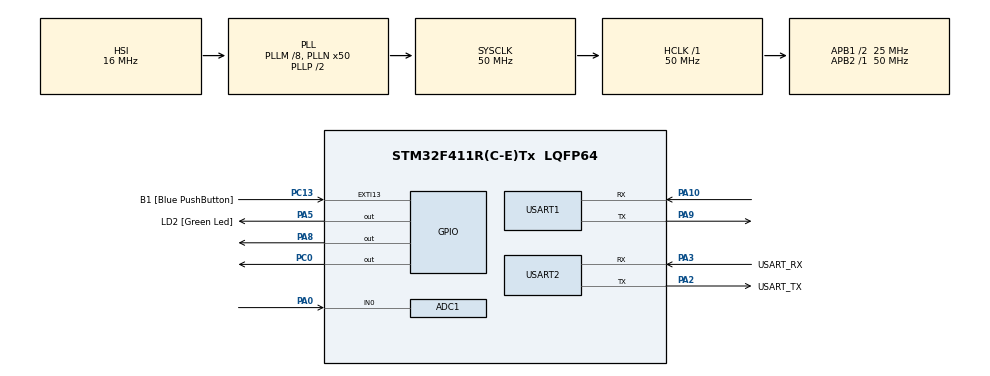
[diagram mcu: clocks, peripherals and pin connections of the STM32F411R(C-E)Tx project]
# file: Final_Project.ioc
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ADC1.Channel-0\#ChannelRegularConversion=ADC_CHANNEL_0
ADC1.NbrOfConversionFlag=1
ADC1.Rank-0\#ChannelRegularConversion=1
ADC1.SamplingTime-0\#ChannelRegularConversion=ADC_SAMPLETIME_3CYCLES
ADC1.master=1
FREERTOS.Tasks01=defaultTask,24,128,StartDefaultTask,Default,NULL,Dynamic,NULL,NULL;DustSensor,8,128,StartTask02,Default,NULL,Dynamic,NULL,NULL;DHT22,8,128,StartTask03,Default,NULL,Dynamic,NULL,NULL
Mcu.Family=STM32F4
Mcu.Name=STM32F411R(C-E)Tx
Mcu.Package=LQFP64
NVIC.PriorityGroup=NVIC_PRIORITYGROUP_4
NVIC.USART1_IRQn=true\:5\:0\:false\:false\:true\:true\:true\:true\:true
NVIC.USART2_IRQn=true\:5\:0\:false\:false\:true\:true\:true\:true\:true
PA0-WKUP.Signal=ADCx_IN0
PA10.Mode=Asynchronous
PA10.Signal=USART1_RX
PA13.GPIO_Label=TMS
PA13.Mode=Serial_Wire
PA13.Signal=SYS_JTMS-SWDIO
PA14.GPIO_Label=TCK
PA14.Mode=Serial_Wire
PA14.Signal=SYS_JTCK-SWCLK
PA2.GPIO_Label=USART_TX
PA2.Mode=Asynchronous
PA2.Signal=USART2_TX
PA3.GPIO_Label=USART_RX
PA3.Mode=Asynchronous
PA3.Signal=USART2_RX
PA5.GPIO_Label=LD2 [Green Led]
PA5.Signal=GPIO_Output
PA8.Signal=GPIO_Output
PA9.Mode=Asynchronous
PA9.Signal=USART1_TX
PB3.GPIO_Label=SWO
PB3.Signal=SYS_JTDO-SWO
PC0.Signal=GPIO_Output
PC13-ANTI_TAMP.GPIO_Label=B1 [Blue PushButton]
PC13-ANTI_TAMP.GPIO_ModeDefaultEXTI=GPIO_MODE_IT_FALLING
PC13-ANTI_TAMP.Signal=GPXTI13
PC14-OSC32_IN.Mode=LSE-External-Oscillator
PC14-OSC32_IN.Signal=RCC_OSC32_IN
PC15-OSC32_OUT.Mode=LSE-External-Oscillator
PC15-OSC32_OUT.Signal=RCC_OSC32_OUT
PH0\ -\ OSC_IN.Mode=HSE-External-Oscillator
PH0\ -\ OSC_IN.Signal=RCC_OSC_IN
PH1\ -\ OSC_OUT.Mode=HSE-External-Oscillator
PH1\ -\ OSC_OUT.Signal=RCC_OSC_OUT
ProjectManager.HeapSize=0x200
ProjectManager.StackSize=0x400
ProjectManager.TargetToolchain=STM32CubeIDE
RCC.48MHZClocksFreq_Value=25000000
RCC.AHBFreq_Value=50000000
RCC.APB1CLKDivider=RCC_HCLK_DIV2
RCC.APB1Freq_Value=25000000
RCC.APB1TimFreq_Value=50000000
RCC.APB2Freq_Value=50000000
RCC.APB2TimFreq_Value=50000000
RCC.CortexFreq_Value=50000000
RCC.FLatency-AdvancedSettings=FLASH_LATENCY_1
RCC.HCLKFreq_Value=50000000
RCC.HSE_VALUE=8000000
RCC.HSI_VALUE=16000000
RCC.PLLM=8
RCC.PLLN=50
RCC.SYSCLKFreq_VALUE=50000000
RCC.SYSCLKSource=RCC_SYSCLKSOURCE_PLLCLK
RCC.VCOOutputFreq_Value=100000000
SH.ADCx_IN0.0=ADC1_IN0,IN0
TIM1.Prescaler=49
TIM2.Prescaler=49
TIM3.Prescaler=49
USART1.VirtualMode=VM_ASYNC
USART2.VirtualMode=VM_ASYNC
VP_FREERTOS_VS_CMSIS_V2.Mode=CMSIS_V2
VP_TIM1_VS_ClockSourceINT.Mode=Internal
VP_TIM2_VS_ClockSourceINT.Mode=Internal
VP_TIM3_VS_ClockSourceINT.Mode=Internal
board=NUCLEO-F411RE

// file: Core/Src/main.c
/* USER CODE BEGIN Header */
/**
  ******************************************************************************
  * @file           : main.c
  * @brief          : Main program body
  ******************************************************************************
  * @attention
  *
  * Copyright (c) 2023 STMicroelectronics.
  * All rights reserved.
  *
  * This software is licensed under terms that can be found in the LICENSE file
  * in the root directory of this software component.
  * If no LICENSE file comes with this software, it is provided AS-IS.
  *
  ******************************************************************************
  */
/* USER CODE END Header */
#include "main.h"
#include "cmsis_os.h"

/* USER CODE BEGIN PD */
#define LED_PORT GPIOA
#define LED_PIN GPIO_PIN_8
#define DHT22_PORT GPIOB
#define DHT22_PIN GPIO_PIN_8
#define FAN_PORT GPIOC
#define FAN_PIN GPIO_PIN_0
/* USER CODE END PD */

ADC_HandleTypeDef hadc1;

TIM_HandleTypeDef htim1;
TIM_HandleTypeDef htim2;
TIM_HandleTypeDef htim3;

UART_HandleTypeDef huart1;
UART_HandleTypeDef huart2;

/* Definitions for defaultTask */
osThreadId_t defaultTaskHandle;
const osThreadAttr_t defaultTask_attributes = {
  .name = "defaultTask",
  .stack_size = 128 * 4,
  .priority = (osPriority_t) osPriorityNormal,
};
/* Definitions for DustSensor */
osThreadId_t DustSensorHandle;
const osThreadAttr_t DustSensor_attributes = {
  .name = "DustSensor",
  .stack_size = 128 * 4,
  .priority = (osPriority_t) osPriorityLow,
};
/* Definitions for DHT22 */
osThreadId_t DHT22Handle;
const osThreadAttr_t DHT22_attributes = {
  .name = "DHT22",
  .stack_size = 128 * 4,
  .priority = (osPriority_t) osPriorityLow,
};

void SystemClock_Config(void);
static void MX_GPIO_Init(void);
static void MX_USART2_UART_Init(void);
static void MX_ADC1_Init(void);
static void MX_TIM1_Init(void);
static void MX_TIM3_Init(void);
static void MX_USART1_UART_Init(void);
static void MX_TIM2_Init(void);
void StartDefaultTask(void *argument);
void StartTask02(void *argument);
void StartTask03(void *argument);

/* USER CODE BEGIN 0 */
int adcval=0;
uint8_t Rh_byte1, Rh_byte2, Temp_byte1, Temp_byte2,T[3],H[3],Check,Presence,Data[10],Echo_Data[1];
uint16_t Tsum,Hsum,SUM;
void delay(uint16_t Delay){ // will delay = Delay * 1 micro second (Delay should not exceed 2^16 - 1)
    __HAL_TIM_SET_COUNTER(&htim3,0);  // set the counter value a 0
    while ((uint16_t)__HAL_TIM_GET_COUNTER(&htim3) < Delay);// wait for the counter to reach the us input in the parameter
}
void delay3(uint16_t Delay){ // will delay = Delay * 1 micro second (Delay should not exceed 2^16 - 1)
    __HAL_TIM_SET_COUNTER(&htim2,0);  // set the counter value a 0
    while ((uint16_t)__HAL_TIM_GET_COUNTER(&htim2) < Delay);// wait for the counter to reach the us input in the parameter
}
void Set_Pin_Output (GPIO_TypeDef *GPIOx, uint16_t GPIO_Pin){
	GPIO_InitTypeDef GPIO_InitStruct = {0};
	GPIO_InitStruct.Pin = GPIO_Pin;
	GPIO_InitStruct.Mode = GPIO_MODE_OUTPUT_PP;
	GPIO_InitStruct.Speed = GPIO_SPEED_FREQ_LOW;
	HAL_GPIO_Init(GPIOx, &GPIO_InitStruct);
}

void Set_Pin_Input (GPIO_TypeDef *GPIOx, uint16_t GPIO_Pin){
	GPIO_InitTypeDef GPIO_InitStruct = {0};
	GPIO_InitStruct.Pin = GPIO_Pin;
	GPIO_InitStruct.Mode = GPIO_MODE_INPUT;
	GPIO_InitStruct.Pull = GPIO_PULLUP;
	HAL_GPIO_Init(GPIOx, &GPIO_InitStruct);
}

void DHT22_Start (void)
{
	Set_Pin_Output(DHT22_PORT, DHT22_PIN); // set the pin as output
	HAL_GPIO_WritePin (DHT22_PORT, DHT22_PIN, 0);   // pull the pin low
	delay(20000);   // wait for > 1ms

	HAL_GPIO_WritePin (DHT22_PORT, DHT22_PIN, 1);   // pull the pin high
	delay (30);   // wait for 30us
	HAL_GPIO_WritePin (DHT22_PORT, DHT22_PIN, 0);   // pull the pin high

	Set_Pin_Input(DHT22_PORT, DHT22_PIN);   // set as input
}
uint8_t DHT22_Check_Response (void)
{
	Set_Pin_Input(DHT22_PORT, DHT22_PIN);   // set as input
	uint8_t Response = 0;
	delay (40);  // wait for 40us
	if (!(HAL_GPIO_ReadPin (DHT22_PORT, DHT22_PIN))) // if the pin is low
	{
		delay (80);   // wait for 80us

		if ((HAL_GPIO_ReadPin (DHT22_PORT, DHT22_PIN))) Response = 1;  // if the pin is high, response is ok
		else Response = -1;
	}

	while ((HAL_GPIO_ReadPin (DHT22_PORT, DHT22_PIN)));// wait for the pin to go low
	return Response;
}
uint8_t DHT22_Read (void)
{
	uint8_t i=0,j;
	for (j=0;j<8;j++)
	{
		while (!(HAL_GPIO_ReadPin (DHT22_PORT, DHT22_PIN))){
			delay(1); // wait for the pin to go high
		}
		delay (40);   // wait for 40 us
		HAL_GPIO_TogglePin(GPIOC, GPIO_PIN_9);
		if (!(HAL_GPIO_ReadPin (DHT22_PORT, DHT22_PIN)))   // if the pin is low
		{
			i&= ~(1<<(7-j));   // write 0
		}
		else i|= (1<<(7-j));  // if the pin is high, write 1
		while ((HAL_GPIO_ReadPin (DHT22_PORT, DHT22_PIN))){
			delay(1);  // wait for the pin to go low
		}
	}

	return i;
}
/* USER CODE END 0 */

int main(void)
{

  /* MCU Configuration--------------------------------------------------------*/

  /* Reset of all peripherals, Initializes the Flash interface and the Systick. */
  HAL_Init();

  /* Configure the system clock */
  SystemClock_Config();

  /* Initialize all configured peripherals */
  MX_GPIO_Init();
  MX_USART2_UART_Init();
  MX_ADC1_Init();
  MX_TIM1_Init();
  MX_TIM3_Init();
  MX_USART1_UART_Init();
  MX_TIM2_Init();
  /* USER CODE BEGIN 2 */
  HAL_TIM_Base_Start(&htim3);
  /* USER CODE END 2 */

  /* Init scheduler */
  osKernelInitialize();

  /* Create the thread(s) */
  /* creation of defaultTask */
  defaultTaskHandle = osThreadNew(StartDefaultTask, NULL, &defaultTask_attributes);

  /* creation of DustSensor */
  DustSensorHandle = osThreadNew(StartTask02, NULL, &DustSensor_attributes);

  /* creation of DHT22 */
  DHT22Handle = osThreadNew(StartTask03, NULL, &DHT22_attributes);

  /* Start scheduler */
  osKernelStart();
  /* We should never get here as control is now taken by the scheduler */
  /* Infinite loop */
  while (1)
  {

  }
}

void SystemClock_Config(void)
{
  RCC_OscInitTypeDef RCC_OscInitStruct = {0};
  RCC_ClkInitTypeDef RCC_ClkInitStruct = {0};

  /** Configure the main internal regulator output voltage
  */
  __HAL_RCC_PWR_CLK_ENABLE();
  __HAL_PWR_VOLTAGESCALING_CONFIG(PWR_REGULATOR_VOLTAGE_SCALE1);

  /** Initializes the RCC Oscillators according to the specified parameters
  * in the RCC_OscInitTypeDef structure.
  */
  RCC_OscInitStruct.OscillatorType = RCC_OSCILLATORTYPE_HSI;
  RCC_OscInitStruct.HSIState = RCC_HSI_ON;
  RCC_OscInitStruct.HSICalibrationValue = RCC_HSICALIBRATION_DEFAULT;
  RCC_OscInitStruct.PLL.PLLState = RCC_PLL_ON;
  RCC_OscInitStruct.PLL.PLLSource = RCC_PLLSOURCE_HSI;
  RCC_OscInitStruct.PLL.PLLM = 8;
  RCC_OscInitStruct.PLL.PLLN = 50;
  RCC_OscInitStruct.PLL.PLLP = RCC_PLLP_DIV2;
  RCC_OscInitStruct.PLL.PLLQ = 4;
  if (HAL_RCC_OscConfig(&RCC_OscInitStruct) != HAL_OK)
  {
    Error_Handler();
  }

  /** Initializes the CPU, AHB and APB buses clocks
  */
  RCC_ClkInitStruct.ClockType = RCC_CLOCKTYPE_HCLK|RCC_CLOCKTYPE_SYSCLK
                              |RCC_CLOCKTYPE_PCLK1|RCC_CLOCKTYPE_PCLK2;
  RCC_ClkInitStruct.SYSCLKSource = RCC_SYSCLKSOURCE_PLLCLK;
  RCC_ClkInitStruct.AHBCLKDivider = RCC_SYSCLK_DIV1;
  RCC_ClkInitStruct.APB1CLKDivider = RCC_HCLK_DIV2;
  RCC_ClkInitStruct.APB2CLKDivider = RCC_HCLK_DIV1;

  if (HAL_RCC_ClockConfig(&RCC_ClkInitStruct, FLASH_LATENCY_1) != HAL_OK)
  {
    Error_Handler();
  }
}

static void MX_ADC1_Init(void)
{

  ADC_ChannelConfTypeDef sConfig = {0};

  /** Configure the global features of the ADC (Clock, Resolution, Data Alignment and number of conversion)
  */
  hadc1.Instance = ADC1;
  hadc1.Init.ClockPrescaler = ADC_CLOCK_SYNC_PCLK_DIV2;
  hadc1.Init.Resolution = ADC_RESOLUTION_12B;
  hadc1.Init.ScanConvMode = DISABLE;
  hadc1.Init.ContinuousConvMode = DISABLE;
  hadc1.Init.DiscontinuousConvMode = DISABLE;
  hadc1.Init.ExternalTrigConvEdge = ADC_EXTERNALTRIGCONVEDGE_NONE;
  hadc1.Init.ExternalTrigConv = ADC_SOFTWARE_START;
  hadc1.Init.DataAlign = ADC_DATAALIGN_RIGHT;
  hadc1.Init.NbrOfConversion = 1;
  hadc1.Init.DMAContinuousRequests = DISABLE;
  hadc1.Init.EOCSelection = ADC_EOC_SINGLE_CONV;
  if (HAL_ADC_Init(&hadc1) != HAL_OK)
  {
    Error_Handler();
  }

  /** Configure for the selected ADC regular channel its corresponding rank in the sequencer and its sample time.
  */
  sConfig.Channel = ADC_CHANNEL_0;
  sConfig.Rank = 1;
  sConfig.SamplingTime = ADC_SAMPLETIME_3CYCLES;
  if (HAL_ADC_ConfigChannel(&hadc1, &sConfig) != HAL_OK)
  {
    Error_Handler();
  }

}

static void MX_TIM1_Init(void)
{

  TIM_ClockConfigTypeDef sClockSourceConfig = {0};
  TIM_MasterConfigTypeDef sMasterConfig = {0};

  htim1.Instance = TIM1;
  htim1.Init.Prescaler = 49;
  htim1.Init.CounterMode = TIM_COUNTERMODE_UP;
  htim1.Init.Period = 65535;
  htim1.Init.ClockDivision = TIM_CLOCKDIVISION_DIV1;
  htim1.Init.RepetitionCounter = 0;
  htim1.Init.AutoReloadPreload = TIM_AUTORELOAD_PRELOAD_DISABLE;
  if (HAL_TIM_Base_Init(&htim1) != HAL_OK)
  {
    Error_Handler();
  }
  sClockSourceConfig.ClockSource = TIM_CLOCKSOURCE_INTERNAL;
  if (HAL_TIM_ConfigClockSource(&htim1, &sClockSourceConfig) != HAL_OK)
  {
    Error_Handler();
  }
  sMasterConfig.MasterOutputTrigger = TIM_TRGO_RESET;
  sMasterConfig.MasterSlaveMode = TIM_MASTERSLAVEMODE_DISABLE;
  if (HAL_TIMEx_MasterConfigSynchronization(&htim1, &sMasterConfig) != HAL_OK)
  {
    Error_Handler();
  }

}

static void MX_TIM2_Init(void)
{

  TIM_ClockConfigTypeDef sClockSourceConfig = {0};
  TIM_MasterConfigTypeDef sMasterConfig = {0};

  htim2.Instance = TIM2;
  htim2.Init.Prescaler = 49;
  htim2.Init.CounterMode = TIM_COUNTERMODE_UP;
  htim2.Init.Period = 4294967295;
  htim2.Init.ClockDivision = TIM_CLOCKDIVISION_DIV1;
  htim2.Init.AutoReloadPreload = TIM_AUTORELOAD_PRELOAD_DISABLE;
  if (HAL_TIM_Base_Init(&htim2) != HAL_OK)
  {
    Error_Handler();
  }
  sClockSourceConfig.ClockSource = TIM_CLOCKSOURCE_INTERNAL;
  if (HAL_TIM_ConfigClockSource(&htim2, &sClockSourceConfig) != HAL_OK)
  {
    Error_Handler();
  }
  sMasterConfig.MasterOutputTrigger = TIM_TRGO_RESET;
  sMasterConfig.MasterSlaveMode = TIM_MASTERSLAVEMODE_DISABLE;
  if (HAL_TIMEx_MasterConfigSynchronization(&htim2, &sMasterConfig) != HAL_OK)
  {
    Error_Handler();
  }

}

static void MX_TIM3_Init(void)
{

  TIM_ClockConfigTypeDef sClockSourceConfig = {0};
  TIM_MasterConfigTypeDef sMasterConfig = {0};

  htim3.Instance = TIM3;
  htim3.Init.Prescaler = 49;
  htim3.Init.CounterMode = TIM_COUNTERMODE_UP;
  htim3.Init.Period = 65535;
  htim3.Init.ClockDivision = TIM_CLOCKDIVISION_DIV1;
  htim3.Init.AutoReloadPreload = TIM_AUTORELOAD_PRELOAD_DISABLE;
  if (HAL_TIM_Base_Init(&htim3) != HAL_OK)
  {
    Error_Handler();
  }
  sClockSourceConfig.ClockSource = TIM_CLOCKSOURCE_INTERNAL;
  if (HAL_TIM_ConfigClockSource(&htim3, &sClockSourceConfig) != HAL_OK)
  {
    Error_Handler();
  }
  sMasterConfig.MasterOutputTrigger = TIM_TRGO_RESET;
  sMasterConfig.MasterSlaveMode = TIM_MASTERSLAVEMODE_DISABLE;
  if (HAL_TIMEx_MasterConfigSynchronization(&htim3, &sMasterConfig) != HAL_OK)
  {
    Error_Handler();
  }

}

static void MX_USART1_UART_Init(void)
{

  huart1.Instance = USART1;
  huart1.Init.BaudRate = 115200;
  huart1.Init.WordLength = UART_WORDLENGTH_8B;
  huart1.Init.StopBits = UART_STOPBITS_1;
  huart1.Init.Parity = UART_PARITY_NONE;
  huart1.Init.Mode = UART_MODE_TX_RX;
  huart1.Init.HwFlowCtl = UART_HWCONTROL_NONE;
  huart1.Init.OverSampling = UART_OVERSAMPLING_16;
  if (HAL_UART_Init(&huart1) != HAL_OK)
  {
    Error_Handler();
  }

}

static void MX_USART2_UART_Init(void)
{

  huart2.Instance = USART2;
  huart2.Init.BaudRate = 115200;
  huart2.Init.WordLength = UART_WORDLENGTH_8B;
  huart2.Init.StopBits = UART_STOPBITS_1;
  huart2.Init.Parity = UART_PARITY_NONE;
  huart2.Init.Mode = UART_MODE_TX_RX;
  huart2.Init.HwFlowCtl = UART_HWCONTROL_NONE;
  huart2.Init.OverSampling = UART_OVERSAMPLING_16;
  if (HAL_UART_Init(&huart2) != HAL_OK)
  {
    Error_Handler();
  }

}

static void MX_GPIO_Init(void)
{
  GPIO_InitTypeDef GPIO_InitStruct = {0};

  /* GPIO Ports Clock Enable */
  __HAL_RCC_GPIOC_CLK_ENABLE();
  __HAL_RCC_GPIOH_CLK_ENABLE();
  __HAL_RCC_GPIOA_CLK_ENABLE();
  __HAL_RCC_GPIOB_CLK_ENABLE();

  /*Configure GPIO pin Output Level */
  HAL_GPIO_WritePin(GPIOC, GPIO_PIN_0, GPIO_PIN_RESET);

  /*Configure GPIO pin Output Level */
  HAL_GPIO_WritePin(GPIOA, LD2_Pin|GPIO_PIN_8, GPIO_PIN_RESET);

  /*Configure GPIO pin : B1_Pin */
  GPIO_InitStruct.Pin = B1_Pin;
  GPIO_InitStruct.Mode = GPIO_MODE_IT_FALLING;
  GPIO_InitStruct.Pull = GPIO_NOPULL;
  HAL_GPIO_Init(B1_GPIO_Port, &GPIO_InitStruct);

  /*Configure GPIO pin : PC0 */
  GPIO_InitStruct.Pin = GPIO_PIN_0;
  GPIO_InitStruct.Mode = GPIO_MODE_OUTPUT_PP;
  GPIO_InitStruct.Pull = GPIO_NOPULL;
  GPIO_InitStruct.Speed = GPIO_SPEED_FREQ_LOW;
  HAL_GPIO_Init(GPIOC, &GPIO_InitStruct);

  /*Configure GPIO pins : LD2_Pin PA8 */
  GPIO_InitStruct.Pin = LD2_Pin|GPIO_PIN_8;
  GPIO_InitStruct.Mode = GPIO_MODE_OUTPUT_PP;
  GPIO_InitStruct.Pull = GPIO_NOPULL;
  GPIO_InitStruct.Speed = GPIO_SPEED_FREQ_LOW;
  HAL_GPIO_Init(GPIOA, &GPIO_InitStruct);

}

/* USER CODE BEGIN 4 */
void HAL_UART_RxCpltCallback(UART_HandleTypeDef *huart)
{
	//HAL_GPIO_TogglePin(GPIOA, GPIO_PIN_5);
    if(Echo_Data[0] == 1){
    	HAL_GPIO_WritePin(FAN_PORT, FAN_PIN, 1);
    	//HAL_GPIO_WritePin(GPIOA, GPIO_PIN_5, 1);
    }else{
    	HAL_GPIO_WritePin(FAN_PORT, FAN_PIN, 0);
    	//HAL_GPIO_WritePin(GPIOA, GPIO_PIN_5, 0);
    }
    HAL_UART_Receive_IT (&huart1, Echo_Data, 1);
}
/* USER CODE END 4 */

void StartDefaultTask(void *argument)
{
  /* USER CODE BEGIN 5 */
  HAL_TIM_Base_Start(&htim2);
  HAL_UART_Receive_IT (&huart1, Echo_Data, 1);
  /* Infinite loop */
  for(;;)
  {
	taskENTER_CRITICAL();
//	HAL_UART_Transmit(&huart2, "GO\r\n", 4, 10);
//	HAL_UART_Transmit(&huart2, T, 3, 10);
//	HAL_UART_Transmit(&huart2, "\r\n", 2, 10);
//	HAL_UART_Transmit(&huart2, H, 3, 10);
//	HAL_UART_Transmit(&huart2, "\r\n", 2, 10);
//	HAL_UART_Transmit(&huart2, Data, 4, 100);
//	HAL_UART_Transmit(&huart2, "\r\n", 2, 100);
	uint8_t Start = 255;
	HAL_UART_Transmit(&huart1, &Start, 1, 10);
	delay3(50000);
	delay3(50000);
	delay3(50000);
	HAL_UART_Transmit(&huart1, &Start, 1, 10);
	delay3(50000);
	delay3(50000);
	delay3(50000);
	char tempBuffer[5];
	//sprintf(tempBuffer, "%d", Temp_byte1);
	HAL_UART_Transmit(&huart1, &Temp_byte1 , 1, 10);
	//HAL_UART_Transmit(&huart2, tempBuffer , 3, 10);
	delay3(50000);
	delay3(50000);
	delay3(50000);
	//sprintf(tempBuffer, "%d", Temp_byte2);
	HAL_UART_Transmit(&huart1, &Temp_byte2 , 1, 10);
	//HAL_UART_Transmit(&huart2, tempBuffer , 3, 10);
	delay3(50000);
	delay3(50000);
	delay3(50000);
	//sprintf(tempBuffer, "%d", Rh_byte1);
	HAL_UART_Transmit(&huart1, &Rh_byte1 , 1, 10);
	//HAL_UART_Transmit(&huart2, tempBuffer , 3, 10);
	delay3(50000);
	delay3(50000);
	delay3(50000);
	//sprintf(tempBuffer, "%d", Rh_byte2);
	HAL_UART_Transmit(&huart1, &Rh_byte2 , 1, 10);
	//HAL_UART_Transmit(&huart2, tempBuffer , 3, 10);
	delay3(50000);
	delay3(50000);
	delay3(50000);
	uint16_t temp = (uint16_t)adcval;
	uint8_t A = adcval/256,B = adcval%256;
	sprintf(tempBuffer, "%d\r\n", adcval);
	HAL_UART_Transmit(&huart2, tempBuffer , sizeof(tempBuffer), 10);
	sprintf(tempBuffer, "%d\r\n", A);
	HAL_UART_Transmit(&huart2, tempBuffer , sizeof(tempBuffer), 10);
	sprintf(tempBuffer, "%d\r\n", B);
	HAL_UART_Transmit(&huart2, tempBuffer , sizeof(tempBuffer), 10);
	HAL_UART_Transmit(&huart1, &A , 1, 10);
	delay3(50000);
	delay3(50000);
	delay3(50000);
	HAL_UART_Transmit(&huart1, &B , 1, 10);
	delay3(50000);
	delay3(50000);
	delay3(50000);
	taskEXIT_CRITICAL();
	HAL_GPIO_TogglePin(GPIOA, GPIO_PIN_5);
    osDelay(5000);
  }
  /* USER CODE END 5 */
}

/* USER CODE BEGIN Header_StartTask02 */
void delay1(uint16_t Delay){ // will delay = Delay * 1 micro second (Delay should not exceed 2^16 - 1)
    __HAL_TIM_SET_COUNTER(&htim1,0);  // set the counter value a 0
    while ((uint16_t)__HAL_TIM_GET_COUNTER(&htim1) < Delay);// wait for the counter to reach the us input in the parameter
}
/**
* @brief Function implementing the DustSensor thread.
* @param argument: Not used
* @retval None
*/
/* USER CODE END Header_StartTask02 */
void StartTask02(void *argument)
{
  /* USER CODE BEGIN StartTask02 */

	HAL_TIM_Base_Start(&htim1);
  /* Infinite loop */
  for(;;)
  {
	  taskENTER_CRITICAL();
//	  HAL_UART_Transmit(&huart2, "Yes\r\n", 5 , 100);
//	  int n;
//	  __disable_irq();

	  HAL_GPIO_WritePin(LED_PORT, LED_PIN , 0);
	  delay1(280);
	  HAL_ADC_Start(&hadc1);
	  if(HAL_ADC_PollForConversion(&hadc1, 1000) == HAL_OK){
	  	adcval = HAL_ADC_GetValue(&hadc1);
	  }
	  delay1(40);
	  HAL_GPIO_WritePin(LED_PORT, LED_PIN , 1);
	  sprintf(Data,"%d",adcval);
//	  HAL_UART_Transmit(&huart2, Data, 4, 100);
//	  HAL_UART_Transmit(&huart2, "\r\n", 2, 100);
	  delay1(9680);
	  taskEXIT_CRITICAL();
//	  taskYIELD();
	  osDelay(100);
//	  __enable_irq();
  }
  /* USER CODE END StartTask02 */
}

void StartTask03(void *argument)
{
  /* USER CODE BEGIN StartTask03 */
	HAL_TIM_Base_Start(&htim3);
  /* Infinite loop */
  for(;;)
  {
	  taskENTER_CRITICAL();
//	  HAL_UART_Transmit(&huart2, "Do\r\n", 4, 10);
	  uint8_t TB1,TB2,RH1,RH2;
	  DHT22_Start();
	  Presence = DHT22_Check_Response();
	  RH1 = DHT22_Read();
	  RH2 = DHT22_Read();
	  TB1 = DHT22_Read();
	  TB2 = DHT22_Read();
	  SUM = DHT22_Read();
	  Check = RH1 + RH2 + TB1 + TB2;

//	  HAL_UART_Transmit(&huart2, T, 3, 10);
//	  HAL_UART_Transmit(&huart2, "\r\n", 2, 10);
//	  HAL_UART_Transmit(&huart2, H, 3, 10);
//	  HAL_UART_Transmit(&huart2, "\r\n", 2, 10);
	  if(Check == SUM){
		  Rh_byte1 = RH1;
		  Rh_byte2 = RH2;
		  Temp_byte1 = TB1;
		  Temp_byte2 = TB2;
//	  	HAL_UART_Transmit(&huart2, "Good\r\n", 6, 10);
	  }else{
//	  	HAL_UART_Transmit(&huart2, "Bad\r\n", 5, 10);
	  }
	  taskEXIT_CRITICAL();
	  taskYIELD();
	  osDelay(3000);

  }
  /* USER CODE END StartTask03 */
}

void Error_Handler(void)
{
  __disable_irq();
  while (1)
  {
  }
}
